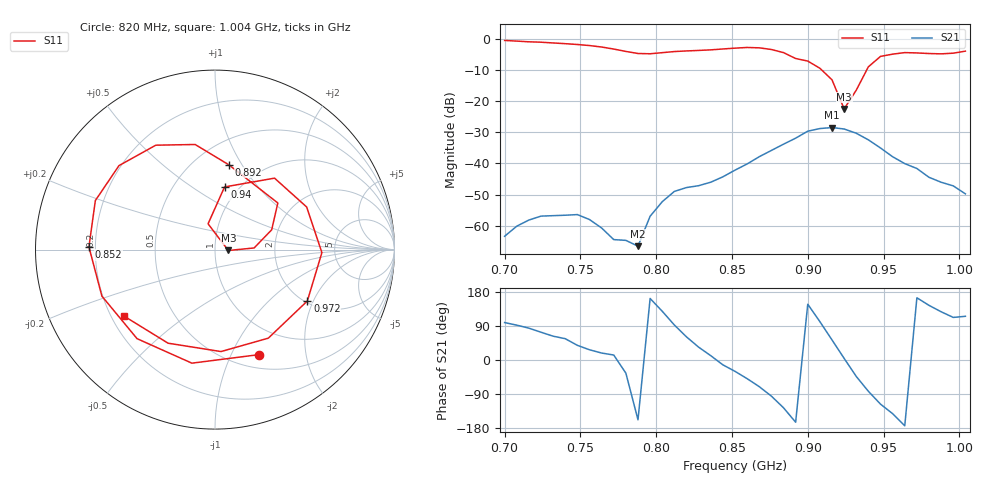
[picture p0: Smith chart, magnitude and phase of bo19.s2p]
# Hz S RI R 50
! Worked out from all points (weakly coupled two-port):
!   39 points, 700 MHz to 1.004 GHz, reference 50 ohm
!   highest |S21| = -28.52 dB at 916 MHz (marker M1); lowest = -66.6 dB at 788 MHz (marker M2)
!   lowest |S11| = -22.5 dB at 924 MHz (marker M3), VSWR 1.16, Z = 58 - j0.576 ohm
!   |S11| at or under -10 dB: 909.1 MHz to 939 MHz (29.92 MHz wide, 3.24 % of centre)
!   S12 and S22 are empty: the file has one direction only
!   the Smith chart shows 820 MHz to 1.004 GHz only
!   S11 on the Smith chart (normalised r, x): 820 MHz: 0.65, -1.28; 852 MHz: 0.17, +0.01; 892 MHz: 0.71, +0.88; 940 MHz: 0.86, +0.69; 972 MHz: 2.06, -1.80; 1.004 GHz: 0.25, -0.31
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7e8  0.768 0.5302  -0.000103 0.000669  0 0  0 0
7.24e8  0.8357 -0.2596  0.000409 0.00136  0 0  0 0
7.4e8  0.4464 -0.6984  0.000818 0.00122  0 0  0 0
7.56e8  -0.193 -0.7487  0.00112 0.00057  0 0  0 0
7.72e8  -0.6534 -0.1855  0.000583 0.000136  0 0  0 0
7.88e8  -0.2217 0.5324  -0.000435 -0.000178  0 0  0 0
7.96e8  0.2657 0.5052  -0.00135 0.000429  0 0  0 0
8.04e8  0.5782 0.1393  -0.00151 0.00189  0 0  0 0
8.2e8  0.2434 -0.5853  0.00198 0.00358  0 0  0 0
8.36e8  -0.4342 -0.4962  0.00488 0.000987  0 0  0 0
8.52e8  -0.7024 0.015  0.00674 -0.00388  0 0  0 0
8.76e8  -0.3297 0.5818  -0.00149 -0.016  0 0  0 0
8.92e8  0.0759 0.4731  -0.0244 -0.00689  0 0  0 0
9e8  0.3501 0.2598  -0.0275 0.0178  0 0  0 0
9.08e8  0.3159 0.1105  -0.00703 0.0354  0 0  0 0
9.16e8  0.2179 0.00915  0.0226 0.0299  0 0  0 0
9.24e8  0.0744 -0.00493  0.0354 0.00264  0 0  0 0
9.4e8  0.0533 0.3491  0.00306 -0.0236  0 0  0 0
9.56e8  0.5106 0.2374  -0.01 -0.00791  0 0  0 0
9.72e8  0.5145 -0.2863  -0.00794 0.00225  0 0  0 0
9.88e8  0.0334 -0.5681  -0.00302 0.00396  0 0  0 0
1.004e9  -0.5087 -0.3693  -0.00139 0.00293  0 0  0 0
